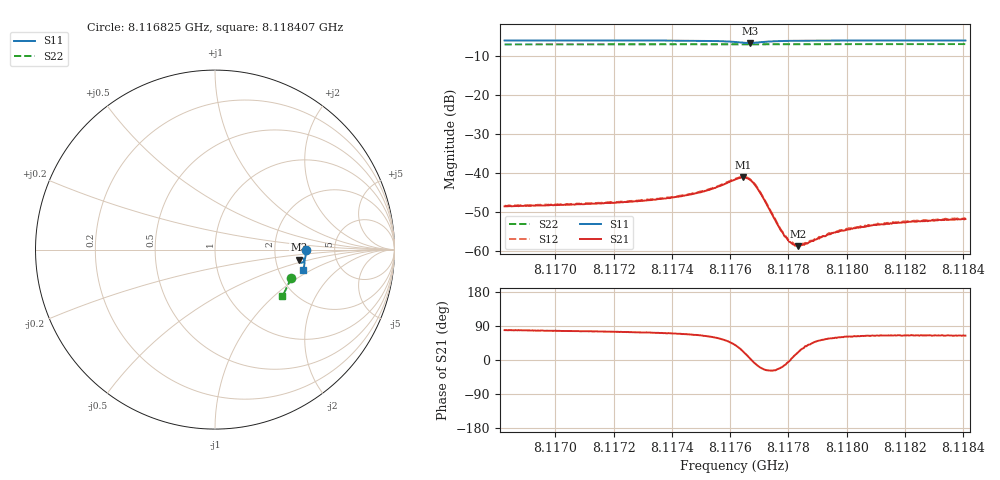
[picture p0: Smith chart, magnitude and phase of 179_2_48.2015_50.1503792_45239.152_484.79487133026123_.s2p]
#  HZ  S  RI  R  50.00
! Rohde & Schwarz Vector Network Analyzer
! Rohde-Schwarz,ZNB20-2Port,1311601062101988,3.16
! Created: UTC 3/20/2024, 11:44:03 AM
! freq[Hz]  re:S11  im:S11  re:S21  im:S21  re:S12  im:S12  re:S22  im:S22
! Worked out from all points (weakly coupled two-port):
!   401 points, 8.116825 GHz to 8.118407 GHz, reference 50 ohm
!   highest |S21| = -41.13 dB at 8.117644 GHz (marker M1); lowest = -58.8 dB at 8.117834 GHz (marker M2)
!   lowest |S11| = -6.5 dB at 8.117668 GHz (marker M3), VSWR 2.78, Z = 136 - j19.8 ohm
!   |S11| at or under -10 dB: nowhere
!   |S22| runs from -6.9 to -6.8 dB; largest |S21 - S12| = 0.00024
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8.1168253e9  0.5063 -0.00366  0.00072 0.00366  0.000798 0.00374  0.4219 -0.1576
8.1170903e9  0.5052 -0.0245  0.000969 0.00387  0.00103 0.00391  0.4158 -0.1753
8.1173553e9  0.5026 -0.0467  0.00148 0.0044  0.00151 0.00442  0.4088 -0.1925
8.1175017e9  0.4978 -0.0618  0.00246 0.00515  0.00254 0.00524  0.4047 -0.2019
8.1175531e9  0.4932 -0.0682  0.00345 0.00561  0.00355 0.00563  0.4029 -0.2054
8.1176164e9  0.4791 -0.0736  0.00634 0.00529  0.00654 0.00528  0.4006 -0.2091
8.1176441e9  0.4696 -0.0682  0.0081 0.00341  0.00827 0.00335  0.3993 -0.2104
8.1176678e9  0.467 -0.0569  0.00816 0.000563  0.00833 0.00051  0.3986 -0.2114
8.1176836e9  0.4708 -0.0501  0.00705 -0.00102  0.0072 -0.00111  0.3984 -0.212
8.1177034e9  0.4785 -0.0462  0.00522 -0.0019  0.00527 -0.002  0.3983 -0.2132
8.1177667e9  0.4941 -0.0535  0.00188 -0.000814  0.00196 -0.000866  0.397 -0.2173
8.1177825e9  0.4956 -0.0561  0.00159 -0.000449  0.00163 -0.000488  0.3967 -0.2185
8.1177983e9  0.4967 -0.0585  0.00137 -0.000133  0.00137 -0.000156  0.3962 -0.2195
8.1178102e9  0.4972 -0.0603  0.00125 8e-05  0.00128 5.41e-05  0.3957 -0.2204
8.117822e9  0.4976 -0.062  0.00114 0.000259  0.00117 0.000255  0.3955 -0.2212
8.1178339e9  0.498 -0.0634  0.00107 0.000415  0.00114 0.000425  0.395 -0.2219
8.1178814e9  0.4985 -0.0693  0.000954 0.000937  0.000966 0.000956  0.3937 -0.225
8.1179407e9  0.4985 -0.0755  0.000897 0.00136  0.00095 0.00141  0.3916 -0.2288
8.1179842e9  0.498 -0.0796  0.000901 0.0016  0.000914 0.0016  0.3903 -0.2314
8.118087e9  0.4969 -0.0887  0.00091 0.00192  0.000983 0.00194  0.3868 -0.2379
8.1181464e9  0.4962 -0.0936  0.000953 0.002  0.001 0.00208  0.3848 -0.2415
8.1184074e9  0.4919 -0.1138  0.00111 0.00231  0.00117 0.00236  0.3754 -0.2573
